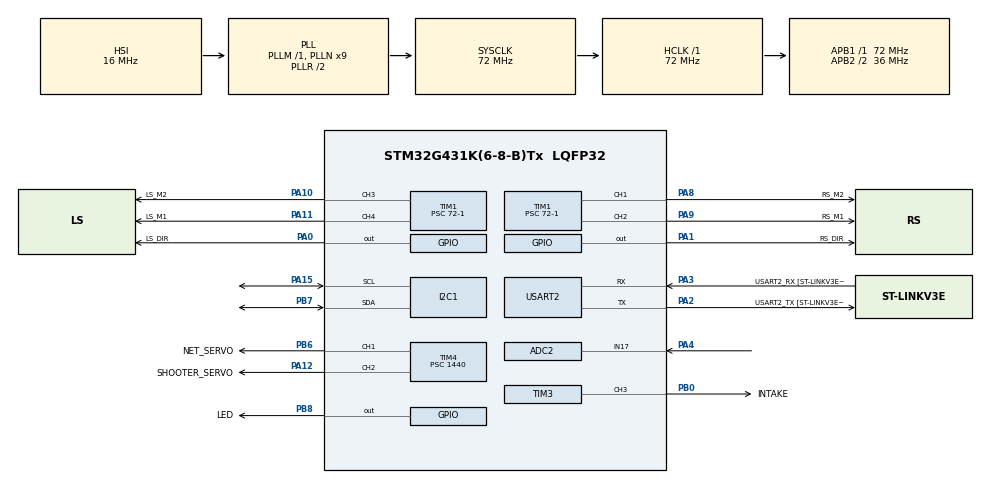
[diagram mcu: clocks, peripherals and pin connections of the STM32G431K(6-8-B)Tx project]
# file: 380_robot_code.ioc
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ADC2.Channel-0\#ChannelRegularConversion=ADC_CHANNEL_17
ADC2.NbrOfConversionFlag=1
ADC2.OffsetNumber-0\#ChannelRegularConversion=ADC_OFFSET_NONE
ADC2.Rank-0\#ChannelRegularConversion=1
ADC2.SamplingTime-0\#ChannelRegularConversion=ADC_SAMPLETIME_2CYCLES_5
I2C1.Timing=0x10808DD3
Mcu.Family=STM32G4
Mcu.Name=STM32G431K(6-8-B)Tx
Mcu.Package=LQFP32
NVIC.PriorityGroup=NVIC_PRIORITYGROUP_4
PA0.GPIO_Label=LS_DIR
PA0.Signal=GPIO_Output
PA1.GPIO_Label=RS_DIR
PA1.Signal=GPIO_Output
PA10.GPIO_Label=LS_M2
PA10.Signal=S_TIM1_CH3
PA11.GPIO_Label=LS_M1
PA11.Signal=S_TIM1_CH4
PA12.GPIO_Label=SHOOTER_SERVO
PA12.Signal=S_TIM4_CH2
PA13.GPIO_Label=T_SWDIO
PA13.Mode=Serial_Wire
PA13.Signal=SYS_JTMS-SWDIO
PA14.GPIO_Label=T_SWCLK
PA14.Mode=Serial_Wire
PA14.Signal=SYS_JTCK-SWCLK
PA15.GPIO_Pu=GPIO_PULLUP
PA15.Mode=I2C
PA15.Signal=I2C1_SCL
PA2.GPIO_Label=USART2_TX [ST-LINKV3E_VCP_RX]
PA2.Mode=Asynchronous
PA2.Signal=USART2_TX
PA3.GPIO_Label=USART2_RX [ST-LINKV3E_VCP_TX]
PA3.Mode=Asynchronous
PA3.Signal=USART2_RX
PA4.Mode=IN17-Single-Ended
PA4.Signal=ADC2_IN17
PA8.GPIO_Label=RS_M2
PA8.Signal=S_TIM1_CH1
PA9.GPIO_Label=RS_M1
PA9.Signal=S_TIM1_CH2
PB0.GPIO_Label=INTAKE
PB0.Signal=S_TIM3_CH3
PB3.GPIO_Label=T_SWO
PB3.Signal=SYS_JTDO-SWO
PB6.GPIO_Label=NET_SERVO
PB6.Signal=S_TIM4_CH1
PB7.GPIO_Pu=GPIO_PULLUP
PB7.Mode=I2C
PB7.Signal=I2C1_SDA
PB8-BOOT0.GPIO_Label=LED
PB8-BOOT0.Signal=GPIO_Output
PF0-OSC_IN.Mode=HSE-External-Oscillator
PF0-OSC_IN.Signal=RCC_OSC_IN
PF1-OSC_OUT.Mode=HSE-External-Oscillator
PF1-OSC_OUT.Signal=RCC_OSC_OUT
ProjectManager.HeapSize=0x200
ProjectManager.StackSize=0x400
ProjectManager.TargetToolchain=STM32CubeIDE
RCC.ADC12Freq_Value=72000000
RCC.AHBFreq_Value=72000000
RCC.APB1Freq_Value=72000000
RCC.APB1TimFreq_Value=72000000
RCC.APB2CLKDivider=RCC_HCLK_DIV2
RCC.APB2Freq_Value=36000000
RCC.APB2TimFreq_Value=72000000
RCC.CortexFreq_Value=72000000
RCC.EXTERNAL_CLOCK_VALUE=12288000
RCC.HCLKFreq_Value=72000000
RCC.HSE_VALUE=8000000
RCC.HSI48_VALUE=48000000
RCC.HSI_VALUE=16000000
RCC.LSE_VALUE=32768
RCC.PLLN=9
RCC.SYSCLKFreq_VALUE=72000000
RCC.SYSCLKSource=RCC_SYSCLKSOURCE_PLLCLK
RCC.USBFreq_Value=72000000
RCC.VCOOutputFreq_Value=144000000
SH.S_TIM1_CH1.0=TIM1_CH1,PWM Generation1 CH1
SH.S_TIM1_CH2.0=TIM1_CH2,PWM Generation2 CH2
SH.S_TIM1_CH3.0=TIM1_CH3,PWM Generation3 CH3
SH.S_TIM1_CH4.0=TIM1_CH4,PWM Generation4 CH4
SH.S_TIM3_CH3.0=TIM3_CH3,PWM Generation3 CH3
SH.S_TIM4_CH1.0=TIM4_CH1,PWM Generation1 CH1
SH.S_TIM4_CH2.0=TIM4_CH2,PWM Generation2 CH2
STMicroelectronics.X-CUBE-TOF1.3.4.1.BoardOoPartJjRangingJjVL53L4CX=true
TIM1.AutoReloadPreload=TIM_AUTORELOAD_PRELOAD_ENABLE
TIM1.Channel-PWM\ Generation1\ CH1=TIM_CHANNEL_1
TIM1.Channel-PWM\ Generation2\ CH2=TIM_CHANNEL_2
TIM1.Channel-PWM\ Generation3\ CH3=TIM_CHANNEL_3
TIM1.Channel-PWM\ Generation4\ CH4=TIM_CHANNEL_4
TIM1.PeriodNoDither=100-1
TIM1.Prescaler=72-1
TIM3.Channel-PWM\ Generation3\ CH3=TIM_CHANNEL_3
TIM4.Channel-PWM\ Generation1\ CH1=TIM_CHANNEL_1
TIM4.Channel-PWM\ Generation2\ CH2=TIM_CHANNEL_2
TIM4.PeriodNoDither=1000
TIM4.Prescaler=1440
USART2.VirtualMode-Asynchronous=VM_ASYNC
USART2.WordLength=WORDLENGTH_8B
VP_STMicroelectronics.X-CUBE-TOF1_VS_BoardOoPartJjRanging_2.0.5_3.4.1.Mode=BoardOoPartJjRanging
VP_SYS_VS_DBSignals.Mode=DisableDeadBatterySignals
VP_TIM1_VS_ClockSourceINT.Mode=Internal
board=NUCLEO-G431KB

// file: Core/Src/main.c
/* USER CODE BEGIN Header */
/**
  ******************************************************************************
  * @file           : main.c
  * @brief          : Main program body
  ******************************************************************************
  * @attention
  *
  * Copyright (c) 2024 STMicroelectronics.
  * All rights reserved.
  *
  * This software is licensed under terms that can be found in the LICENSE file
  * in the root directory of this software component.
  * If no LICENSE file comes with this software, it is provided AS-IS.
  *
  ******************************************************************************
  */
/* USER CODE END Header */
#include "main.h"

/* USER CODE BEGIN Includes */
#include <stdio.h>
#include "VL53Lx_api.h"
/* USER CODE END Includes */

ADC_HandleTypeDef hadc2;

I2C_HandleTypeDef hi2c1;

TIM_HandleTypeDef htim1;
TIM_HandleTypeDef htim3;
TIM_HandleTypeDef htim4;

UART_HandleTypeDef huart2;

void SystemClock_Config(void);
static void MX_GPIO_Init(void);
static void MX_USART2_UART_Init(void);
static void MX_TIM1_Init(void);
static void MX_ADC2_Init(void);
static void MX_TIM3_Init(void);
static void MX_I2C1_Init(void);
static void MX_TIM4_Init(void);
/* USER CODE BEGIN PFP */
//static void MX_I2C1_Init(void);

/* USER CODE END PFP */

/* USER CODE BEGIN 0 */
#define FWD 0
#define BWD 1

#define LEFT 0
#define RIGHT 1

#define MUX_ADDR 0x70 << 1
#define TCS_ADDR 0x29 << 1
#define ICM_ADDR 0x69 << 1
#define MAG_ADDR 0x0C << 1

#define EN_REG 0x80 | 0x00
#define INT_REG 0x80 | 0x01
#define GAIN_REG 0x80 | 0x0F

enum motors {
    LSM1,
    LSM2,
    RSM1,
    RSM2
};

enum {
	R,
	G,
	B
};

enum states {
	FOLLOW1_FAR,
	FOLLOW1_MID,
	FOLLOW1_CLOSE,
	INTERMISSION,
	FOLLOW2,
};

//const uint16_t M_PINS[4] = {LS_M1_Pin, LS_M2_Pin, RS_M1_Pin, RS_M2_Pin};
volatile const uint32_t *M_CCR[4] = {&(TIM1->CCR1), &(TIM1->CCR2), &(TIM1->CCR3), &(TIM1->CCR4)};
const uint8_t M_DIR[2] = {LS_DIR_Pin, RS_DIR_Pin};
const double M_SCALE[4] = {1,1,1,1};

const uint8_t SENSOR_REGS[3] = {0x80 | 0x16, 0x80 | 0x18, 0x80 | 0x1A};
const uint8_t SENSORS[] = {2, 3, 4, 5}; // BL, FR, FL, BR
uint8_t NUM_SENSORS = sizeof(SENSORS)/sizeof(SENSORS[0]);

uint16_t rgb[] = {0, 0, 0};

void runMotors(uint8_t side, uint8_t dir, double duty) {

    char b [100];

    if (duty < 0) {
        dir = !dir;
        duty = abs(duty*1000)/1000.0;
    }

    duty = duty*0.8;
    if (duty > 0.8) duty = 0.8;

    double duty_adj = dir == FWD ? (1-duty) : duty;

//    sprintf(b, "duty %f fwd? %d \r\n", duty_adj, dir == FWD);
//    HAL_UART_Transmit(&huart2, (uint8_t*)b, strlen(b), HAL_MAX_DELAY);

    if (side == LEFT) {
        HAL_GPIO_WritePin(GPIOA, LS_DIR_Pin, dir == FWD ? GPIO_PIN_SET : GPIO_PIN_RESET);
        TIM1->CCR1 = duty_adj*TIM1->ARR;
      //  TIM1->CCR2 = duty_adj*TIM1->ARR;
    } else {
        HAL_GPIO_WritePin(GPIOA, RS_DIR_Pin, dir == FWD ? GPIO_PIN_SET : GPIO_PIN_RESET);
       // TIM1->CCR3 = duty_adj*TIM1->ARR;
        TIM1->CCR4 = duty_adj*TIM1->ARR;
    }
}

void setBit(uint32_t bitMask, uint8_t value) {
	if (value) {
		GPIOA->ODR |= bitMask;
	} else {
		GPIOA->ODR &= ~bitMask;
	}
}

uint8_t selectMuxAddr(uint8_t sensor) {
  HAL_StatusTypeDef ret;
  char b [100];

  if (sensor > 7) {
 		sprintf(b, "sensor index %d out of bounds\r\n", sensor);
 		HAL_UART_Transmit(&huart2, (uint8_t*)b, strlen(b), HAL_MAX_DELAY);
  }

  uint8_t data[1] = {1 << sensor};

  ret = HAL_I2C_Master_Transmit(&hi2c1, MUX_ADDR, data, 1, HAL_MAX_DELAY);

  if ( ret != HAL_OK ) {
 		sprintf(b, "failed to connect to sensor %d - error code %d\r\n", sensor, ret);
 		HAL_UART_Transmit(&huart2, (uint8_t*)b, strlen(b), HAL_MAX_DELAY);
 		return 0;
 	} else {
 		sprintf(b, "connected to sensor %d\r\n", sensor);
 		HAL_UART_Transmit(&huart2, (uint8_t*)b, strlen(b), HAL_MAX_DELAY);
 		return 1;
 	}
}

uint16_t readSensor(uint8_t sensor) {
	if (!selectMuxAddr(sensor)) {
		return 0;
	}

  HAL_StatusTypeDef ret;
  uint8_t buf16[2];
  char out [100];
  uint16_t val;

	for (int i = 0; i < 3; i++) {
    ret = HAL_I2C_Mem_Read(&hi2c1, TCS_ADDR, SENSOR_REGS[i], I2C_MEMADD_SIZE_8BIT, buf16, 2, HAL_MAX_DELAY);

    if ( ret != HAL_OK ) {
   		sprintf(out, "sensor read %d failed with error code %d\r\n", sensor, ret);
   		HAL_UART_Transmit(&huart2, (uint8_t*)out, strlen(out), HAL_MAX_DELAY);
   	} else {
      val = buf16[1] << 8 | buf16[0];
//
//   		sprintf(out, "sensor %d reading %d %d %d\r\n", sensor, buf16[1], buf16[0], val);
//   		HAL_UART_Transmit(&huart2, (uint8_t*)out, strlen(out), HAL_MAX_DELAY);

   		rgb[i] = val;
   	}
	}

//		sprintf(out, "sensor %d read %d \r\n", sensor, getRGB(R));
//		HAL_UART_Transmit(&huart2, (uint8_t*)out, strlen(out), HAL_MAX_DELAY);

	return getRGB(R);

}

uint16_t getRGB(uint8_t colour) {
	uint16_t r = rgb[0];
	uint16_t g = rgb[1];
	uint16_t b = rgb[2];

	uint16_t val2 = rgb[colour]*1000 / (r + g + b) * 3;

//	sprintf(out, "sensor %d  r %d g %d b %d scaled %d\r\n", sensor, r, g, b, val2);
//	HAL_UART_Transmit(&huart2, (uint8_t*)out, strlen(out), HAL_MAX_DELAY);

	return val2;
}

void initSensors() {
  HAL_StatusTypeDef ret;
  uint8_t int_time;
  uint8_t gain;
  uint8_t enable;
  char b [100];

  int_time = 0xFF;
  gain = 0x03;
  enable = 0x01;

	sprintf(b, "yellow %d\r\n", sizeof(SENSORS)/sizeof(SENSORS[0]));
	HAL_UART_Transmit(&huart2, (uint8_t*)b, strlen(b), HAL_MAX_DELAY);

	for (int i = 0; i < sizeof(SENSORS)/sizeof(SENSORS[0]); i++) {
		sprintf(b, "BRUH %d\r\n", i);
		HAL_UART_Transmit(&huart2, (uint8_t*)b, strlen(b), HAL_MAX_DELAY);
		if (!selectMuxAddr(SENSORS[i])) {
			sprintf(b, "bad %d\r\n", ret);
			HAL_UART_Transmit(&huart2, (uint8_t*)b, strlen(b), HAL_MAX_DELAY);
				continue;
		} else {
			sprintf(b, "green %d\r\n", ret);
			HAL_UART_Transmit(&huart2, (uint8_t*)b, strlen(b), HAL_MAX_DELAY);
		}
		sprintf(b, "A %d\r\n", ret);
		HAL_UART_Transmit(&huart2, (uint8_t*)b, strlen(b), HAL_MAX_DELAY);

		// Write integration time
	  ret = HAL_I2C_Mem_Write(&hi2c1, TCS_ADDR, INT_REG, I2C_MEMADD_SIZE_8BIT, &int_time, 1, HAL_MAX_DELAY);

	  if ( ret != HAL_OK ) {
			sprintf(b, "fail 1 %d\r\n", ret);
			HAL_UART_Transmit(&huart2, (uint8_t*)b, strlen(b), HAL_MAX_DELAY);
			return;
		} else {
			sprintf(b, "b %d\r\n", ret);
			HAL_UART_Transmit(&huart2, (uint8_t*)b, strlen(b), HAL_MAX_DELAY);
		}

	  ret = HAL_I2C_Mem_Write(&hi2c1, TCS_ADDR, GAIN_REG, I2C_MEMADD_SIZE_8BIT, &gain, 1, HAL_MAX_DELAY);

	  if ( ret != HAL_OK ) {
			sprintf(b, "fail 2 %d\r\n", ret);
			HAL_UART_Transmit(&huart2, (uint8_t*)b, strlen(b), HAL_MAX_DELAY);
			return;
		} else {
			sprintf(b, "c %d\r\n", ret);
			HAL_UART_Transmit(&huart2, (uint8_t*)b, strlen(b), HAL_MAX_DELAY);
		}

	  HAL_Delay(3);

	  ret = HAL_I2C_Mem_Write(&hi2c1, TCS_ADDR, EN_REG, I2C_MEMADD_SIZE_8BIT, &enable, 1, HAL_MAX_DELAY);

	  if ( ret != HAL_OK ) {
			sprintf(b, "fail 1 %d\r\n", ret);
			HAL_UART_Transmit(&huart2, (uint8_t*)b, strlen(b), HAL_MAX_DELAY);
			return;
		} else {
			sprintf(b, "d %d\r\n", ret);
			HAL_UART_Transmit(&huart2, (uint8_t*)b, strlen(b), HAL_MAX_DELAY);
		}

	  enable |= 0x02;

	  HAL_Delay(3);

	  ret = HAL_I2C_Mem_Write(&hi2c1, TCS_ADDR, EN_REG, I2C_MEMADD_SIZE_8BIT, &enable, 1, HAL_MAX_DELAY);

	  if ( ret != HAL_OK ) {
			sprintf(b, "fail 1 %d\r\n", ret);
			HAL_UART_Transmit(&huart2, (uint8_t*)b, strlen(b), HAL_MAX_DELAY);
			return;
		} else {
			sprintf(b, "e %d\r\n", ret);
			HAL_UART_Transmit(&huart2, (uint8_t*)b, strlen(b), HAL_MAX_DELAY);
		}

	  HAL_Delay(300);

	}
}

void initIMU() {
  HAL_Delay(500);

	HAL_StatusTypeDef ret;
	uint8_t buf8;
	char out [100];

	if (!selectMuxAddr(6)) return;

	// write bypass
	buf8 = 1 << 1;
  ret = HAL_I2C_Mem_Write(&hi2c1, ICM_ADDR, 0x0F, I2C_MEMADD_SIZE_8BIT, &buf8, 1, HAL_MAX_DELAY);

  if ( ret != HAL_OK ) {
  	sprintf(out, "fail %d\r\n", ret);
  	HAL_UART_Transmit(&huart2, (uint8_t*)out, strlen(out), HAL_MAX_DELAY);
  	return;
  } else {
  	sprintf(out, "success %d\r\n", buf8);
  	HAL_UART_Transmit(&huart2, (uint8_t*)out, strlen(out), HAL_MAX_DELAY);
  }

	// write sleep
	buf8 = 0x01;
  ret = HAL_I2C_Mem_Write(&hi2c1, ICM_ADDR, 0x06, I2C_MEMADD_SIZE_8BIT, &buf8, 1, HAL_MAX_DELAY);

  if ( ret != HAL_OK ) {
  	sprintf(out, "fail %d\r\n", ret);
  	HAL_UART_Transmit(&huart2, (uint8_t*)out, strlen(out), HAL_MAX_DELAY);
  	return;
  } else {
  	sprintf(out, "success %d\r\n", buf8);
  	HAL_UART_Transmit(&huart2, (uint8_t*)out, strlen(out), HAL_MAX_DELAY);
  }

  HAL_Delay(10);

  // enable magnetometer at 100 Hz
  buf8 = 0b01000;
  ret = HAL_I2C_Mem_Write(&hi2c1, MAG_ADDR, 0x31, I2C_MEMADD_SIZE_8BIT, &buf8, 1, HAL_MAX_DELAY);

  if ( ret != HAL_OK ) {
  	sprintf(out, "fail %d\r\n", ret);
  	HAL_UART_Transmit(&huart2, (uint8_t*)out, strlen(out), HAL_MAX_DELAY);
  	return;
  } else {
  	sprintf(out, "success %d\r\n", buf8);
  	HAL_UART_Transmit(&huart2, (uint8_t*)out, strlen(out), HAL_MAX_DELAY);
  }

}

void readIMURaw(int16_t* x, int16_t* y, int16_t* z) {
	if (!selectMuxAddr(6)) return;

	HAL_StatusTypeDef ret;
	uint8_t data[6];
	char out [100];
	uint8_t buf8;

	// read magnetometer
  ret = HAL_I2C_Mem_Read(&hi2c1, MAG_ADDR, 0x11, I2C_MEMADD_SIZE_8BIT, data, 6, HAL_MAX_DELAY);

  if ( ret != HAL_OK ) {
  	sprintf(out, "IMU read failed fail %d\r\n", ret);
  	HAL_UART_Transmit(&huart2, (uint8_t*)out, strlen(out), HAL_MAX_DELAY);
  } else {
//    	sprintf(out, "x %d %d y %d %d z %d %d\r\n", data[1], data[0], data[3], data[2], data[5], data[4]);
//    	HAL_UART_Transmit(&huart2, (uint8_t*)out, strlen(out), HAL_MAX_DELAY);

  	*x = data[1] << 8 | data[0];
  	*y = data[3] << 8 | data[2];
  	*z = data[5] << 8 | data[4];

  	sprintf(out, "x %d y %d z %d \r\n", *x, *y, *z);
  	HAL_UART_Transmit(&huart2, (uint8_t*)out, strlen(out), HAL_MAX_DELAY);
  }

  // have to read this register afterwards to clear data ready bit
  ret = HAL_I2C_Mem_Read(&hi2c1, MAG_ADDR, 0x18, I2C_MEMADD_SIZE_8BIT, &buf8, 1, HAL_MAX_DELAY);
  if ( ret != HAL_OK ) {
  	sprintf(out, "IMU read clear failed %d\r\n", ret);
  	HAL_UART_Transmit(&huart2, (uint8_t*)out, strlen(out), HAL_MAX_DELAY);
  } else {
//    	sprintf(out, "success %d %d\r\n", buf16[1], buf16[0]);
//    	HAL_UART_Transmit(&huart2, (uint8_t*)out, strlen(out), HAL_MAX_DELAY);
  }
}

double getAngle(double theta0) {
	int16_t x;
	int16_t y;
	int16_t z;
	char out [100];

	readIMURaw(&x, &y, &z);

	double theta = atan2(z+295, y+33);
	theta = theta * 360 / (2 * M_PI);
	if (theta < 0) {
		theta += 360;
	}

	double output = theta - theta0;

	if (output < 0) {
		output += 360;
	}

//	sprintf(out, "angle %f\r\n", output);
//	HAL_UART_Transmit(&huart2, (uint8_t*)out, strlen(out), HAL_MAX_DELAY);

	return output;
}

void autoCalibrate(uint16_t* tape_val, uint16_t* wood_val) {
  char b [100];
	uint16_t tape = 0;
	uint16_t wood = 0;

	uint32_t wood_sum = 0;
	uint32_t tape_sum = 0;
	uint16_t avg_reading = 0;

	runMotors(LEFT, FWD, 0.4);
	runMotors(RIGHT, FWD, 0.4);

	uint16_t count = 1;
	uint16_t tape_count = 0;

	wood_sum += readSensor(SENSORS[0]);
	wood_sum += readSensor(SENSORS[3]);
	wood_sum /= 2;
	wood = wood_sum;

	sprintf(b, "wood %d\r\n", wood);
	HAL_UART_Transmit(&huart2, (uint8_t*)b, strlen(b), HAL_MAX_DELAY);

	while (1) {
		count++;
		avg_reading = 0;

		avg_reading += readSensor(SENSORS[0]);
		avg_reading += readSensor(SENSORS[3]);
		avg_reading /= 2;

		if (abs(avg_reading - wood) <= wood*0.3) {

			wood_sum += avg_reading;
			wood = wood_sum / count;

			sprintf(b, "wood %d\r\n", wood);
			HAL_UART_Transmit(&huart2, (uint8_t*)b, strlen(b), HAL_MAX_DELAY);

			if (tape_count > 0) {
				tape_count = 0;
				tape_sum = 0;
			}
		} else {
			sprintf(b, "tape? \r\n");
			HAL_UART_Transmit(&huart2, (uint8_t*)b, strlen(b), HAL_MAX_DELAY);

			tape_count++;
			if (tape_count > 10) {
				tape_sum += avg_reading;
			}
		}

		if (tape_count >= 30) {
			tape = tape_sum / (tape_count-10);

			sprintf(b, "found tape! %d\r\n", tape);
			HAL_UART_Transmit(&huart2, (uint8_t*)b, strlen(b), HAL_MAX_DELAY);
			break;
		}
	}

//	runMotors(LEFT, FWD, 0);
//	runMotors(RIGHT, FWD, 0);
}

void manCalibrate(uint16_t* tape_val, uint16_t* wood_val) {
	HAL_Delay(50);

	char b [100];

	uint16_t tape = 0;
	uint16_t wood = 0;

	uint8_t reads = 10;

	for (int i = 0; i < reads; i++) {
		tape += readSensor(SENSORS[1]);
		tape += readSensor(SENSORS[2]);
		wood += readSensor(SENSORS[0]);
		wood += readSensor(SENSORS[3]);
	}

	*tape_val = tape / (2*reads);
	*wood_val = wood / (2*reads);

	sprintf(b, "wood %d tape %d\r\n", *wood_val, *tape_val);
	HAL_UART_Transmit(&huart2, (uint8_t*)b, strlen(b), HAL_MAX_DELAY);
}

void midCalibrate(uint16_t* tape_val, uint16_t* wood_val, double* theta0) {
	HAL_Delay(50);

		char b [100];

		uint16_t tape = 0;
		uint16_t wood = (readSensor(SENSORS[0]) + readSensor(SENSORS[3]))/2;

		uint32_t wood_sum = wood;
		uint16_t avg_reading = 0;

		uint8_t reads = 10;

		uint16_t count = 1;
		uint16_t tape_count = 0;

		double theta_sum = getAngle(0);

		for (int i = 0; i < reads; i++) {
			tape += readSensor(SENSORS[1]);
			tape += readSensor(SENSORS[2]);
		}

		runMotors(LEFT, FWD, 0.4);
		runMotors(RIGHT, FWD, 0.4);

		while (1) {
				count++;
				double theta = getAngle(0);
				theta_sum += theta;
//				sprintf(b, "theta now %f   theta total %f\r\n", theta, theta_sum/count);
//				HAL_UART_Transmit(&huart2, (uint8_t*)b, strlen(b), HAL_MAX_DELAY);

				avg_reading = 0;

				avg_reading += readSensor(SENSORS[0]);
				avg_reading += readSensor(SENSORS[3]);
				avg_reading /= 2;

				if (abs(avg_reading - wood) <= wood*0.3) {

					wood_sum += avg_reading;
					wood = wood_sum / count;

//					sprintf(b, "wood %d\r\n", wood);
//					HAL_UART_Transmit(&huart2, (uint8_t*)b, strlen(b), HAL_MAX_DELAY);

					if (tape_count > 0) {
						tape_count = 0;
					}
				} else {
					sprintf(b, "tape? %d \r\n", avg_reading);
					HAL_UART_Transmit(&huart2, (uint8_t*)b, strlen(b), HAL_MAX_DELAY);

					tape_count++;
				}

				if (tape_count >= 5) {
					sprintf(b, "found tape!\r\n");
					HAL_UART_Transmit(&huart2, (uint8_t*)b, strlen(b), HAL_MAX_DELAY);
					break;
				}
			}

		*tape_val = tape / (2*reads);
		*wood_val = wood;
		*theta0 = theta_sum/count;

		sprintf(b, "wood %d tape %d\r\n", *wood_val, *tape_val);
		HAL_UART_Transmit(&huart2, (uint8_t*)b, strlen(b), HAL_MAX_DELAY);
}

void rotateToAngle(double target, double theta0, uint8_t DIR) {

//	runMotors(RIGHT, FWD, 0);
//	runMotors(LEFT, FWD, 0);
//	HAL_Delay(500);

	double angle = getAngle(theta0);
	runMotors(!DIR, FWD, 0.8);
	runMotors(DIR, BWD, 0.8);

	while (angle < (target-10) || angle > (target+10)) {
		angle = getAngle(theta0);
		//HAL_Delay(10);
	}

	runMotors(RIGHT, FWD, 0);
	runMotors(LEFT, FWD, 0);

	HAL_Delay(100);
//
//	runMotors(RIGHT, FWD, 0.5);
//	runMotors(LEFT, FWD, 0.5);

}

/* servo shit */
#define SHOOTER_HOLD 20
#define SHOOTER_RELEASE 130
#define NET_HOLD 20
#define NET_RELEASE 130
void release_shooter() {
	TIM4->CCR1 = SHOOTER_RELEASE;
}
void hold_shooter() {
	TIM4->CCR1 = SHOOTER_HOLD;
}
void release_net() {
	TIM4->CCR2 = NET_RELEASE;
}
void hold_net() {
	TIM4->CCR2 = NET_HOLD;
}

#define INTAKE_DUTY 0.65

void intakeAndStuff(double theta0) {
//	runMotors(RIGHT, FWD, 0);
//	runMotors(LEFT, FWD, 0);
//	HAL_Delay(500);

	runMotors(RIGHT, BWD, 0.5);
	runMotors(LEFT, BWD, 0.5);
	HAL_Delay(300);
	runMotors(RIGHT, FWD, 0);
	runMotors(LEFT, FWD, 0);
	HAL_Delay(200);

	// DO NOT MAKE DUTY MORE THAN 0.8
	TIM3->CCR3 = INTAKE_DUTY*TIM3->ARR;

	if(getAngle(theta0) > 270 )
			rotateToAngle(270, theta0, LEFT);
	else
			rotateToAngle(270, theta0, RIGHT);

	runMotors(RIGHT, FWD, 0.25);
	runMotors(LEFT, FWD, 0.25);

	HAL_Delay(400);

	runMotors(RIGHT, FWD, 0);
	runMotors(LEFT, FWD, 0);

	HAL_Delay(300);

	rotateToAngle(225, theta0, LEFT);

	TIM3->CCR3 = 0;

	HAL_Delay(300);

	release_shooter();

	HAL_Delay(300);

	rotateToAngle(90, theta0, LEFT);

	while(1) {}

}

const double MAX_DUTY = 0.6;
const double MIN_DUTY = 0;
const double AVG_DUTY = 0.4;
const double DUTY_RANGE = 0.4;

const double kp = 0.8;
const double kd = 1.2;

/* USER CODE END 0 */

int main(void)
{

  /* MCU Configuration--------------------------------------------------------*/

  /* Reset of all peripherals, Initializes the Flash interface and the Systick. */
  HAL_Init();

  /* Configure the system clock */
  SystemClock_Config();

  /* Initialize all configured peripherals */
  MX_GPIO_Init();
  MX_USART2_UART_Init();
  MX_TIM1_Init();
  MX_ADC2_Init();
  MX_TIM3_Init();
  MX_I2C1_Init();
  MX_TIM4_Init();
  /* USER CODE BEGIN 2 */
  //MX_I2C1_Init();
//  HAL_TIM_PWM_Start(&htim1, TIM_CHANNEL_1);
//  HAL_TIM_PWM_Start(&htim1, TIM_CHANNEL_2);
//  HAL_TIM_PWM_Start(&htim1, TIM_CHANNEL_3);

  HAL_Delay(700);

  HAL_TIM_PWM_Start(&htim1, TIM_CHANNEL_1);
  HAL_TIM_PWM_Start(&htim1, TIM_CHANNEL_2);
  HAL_TIM_PWM_Start(&htim1, TIM_CHANNEL_3);
  HAL_TIM_PWM_Start(&htim1, TIM_CHANNEL_4);
  HAL_TIM_PWM_Start(&htim3, TIM_CHANNEL_3);
  HAL_TIM_PWM_Start(&htim4, TIM_CHANNEL_1); // net release
  HAL_TIM_PWM_Start(&htim4, TIM_CHANNEL_2); //shooter release

  // Make sure all motors are stopped
  TIM1->CCR1 = 0;
  TIM1->CCR2 = 0;
  TIM1->CCR3 = 0;
  TIM1->CCR4 = 0;

  TIM3->CCR3 = 0;

  HAL_GPIO_WritePin(GPIOA, LS_DIR_Pin, GPIO_PIN_RESET);
  HAL_GPIO_WritePin(GPIOA, RS_DIR_Pin, GPIO_PIN_RESET);

  hold_shooter();
  release_net();

//  while(1) {
//  	hold_shooter();
//  	HAL_Delay(7000);
//  	release_shooter();
//  	HAL_Delay(7000);
//  }
//
//  while(1) {
//  	readSensor(SENSORS[0]);
//  	readSensor(SENSORS[1]);
//  	readSensor(SENSORS[2]);
//  	readSensor(SENSORS[3]);
//  	HAL_Delay(1000);
//  }

  HAL_Delay(300);

  char b [100];

  sprintf(b, "hello world \r\n");
  HAL_UART_Transmit(&huart2, (uint8_t*)b, strlen(b), HAL_MAX_DELAY);

  initSensors();
  initIMU();
//
//  while (1) {
//  	release_shooter();
//  	HAL_Delay(1000);
//  	hold_shooter();
//  	HAL_Delay(1000);
//  }

//
//  runMotors(LEFT, BWD, 0.6);
//  runMotors(RIGHT, FWD, 0.6);
//  while (1) {
//  	getAngle(0);
//  	HAL_Delay(10);
//  }

  uint16_t tape_val;
  uint16_t wood_val;

  HAL_Delay(100);

  double theta0 = getAngle(0);

//  while(1) {
//  	runMotors(LEFT, FWD, 0.8);
//  	runMotors(RIGHT, BWD, 0.8);
//  	HAL_Delay(5000);
//  	runMotors(LEFT, BWD, 0.8);
//  	runMotors(RIGHT, FWD, 0.8);
//  	HAL_Delay(5000);
//  }

  midCalibrate(&tape_val, &wood_val, &theta0);

  uint16_t TARGET = (tape_val+wood_val)/2;
  uint16_t READING_RANGE = TARGET - wood_val;

//  runMotors(LEFT, FWD, 0.5);
//  runMotors(RIGHT, FWD, 0.5);

//  HAL_Delay(300);

  uint16_t turn_count_l = 0;
  uint16_t turn_count_r = 0;

  int16_t prev_r = TARGET;
  int16_t prev_l = TARGET;

  uint16_t state = FOLLOW1_FAR;

  uint16_t angle_count = 0;

  /* USER CODE END 2 */

  /* Infinite loop */
  /* USER CODE BEGIN WHILE */
  while (1)
  {

  	uint16_t right = readSensor(SENSORS[1]);
  	uint16_t blue_r = getRGB(B);

  	uint16_t left = readSensor(SENSORS[2]);
  	uint16_t blue_l = getRGB(B);

  	if (state < INTERMISSION && (blue_r > 1000 || blue_l > 1000)) {
  		state = INTERMISSION;
  		intakeAndStuff(theta0);
  		state = FOLLOW2;
  		continue;
  	}

//  	double angle = getAngle(theta0);
//  	if (state == FOLLOW1_FAR) {
//			if (angle > 70 && angle < 110) {
//				angle_count++;
//			} else {
//				angle_count = 0;
//			}
//
//			if (angle_count >= 15) {
//				state = FOLLOW1_MID;
//				angle_count = 0;
//			}
//  	} else if (state == FOLLOW1_MID) {
//			if (angle > 340 || angle < 20) {
//				angle_count++;
//			} else {
//				angle_count = 0;
//			}
//
//			if (angle_count >= 15) {
//				state = FOLLOW1_FAR;
//				angle_count = 0;
//				// DO NOT MAKE DUTY MORE THAN 0.8
//				TIM3->CCR3 = INTAKE_DUTY*TIM3->ARR;
//			}
//  	}

//  	sprintf(b, "left sensor %d right sensor %d\r\n", right, left);
//  	HAL_UART_Transmit(&huart2, (uint8_t*)b, strlen(b), HAL_MAX_DELAY);

  	int16_t error_r = right - TARGET;
  	int16_t error_l = left - TARGET;

//  	sprintf(b, "left %d right %d ", error_l, error_r);
//  	HAL_UART_Transmit(&huart2, (uint8_t*)b, strlen(b), HAL_MAX_DELAY);

  	double duty_r;//MIN_DUTY + ratio/(tape/wood)*(MAX_DUTY-MIN_DUTY);//
  	double duty_l;//MIN_DUTY + (1/ratio)/(tape/wood)*(MAX_DUTY-MIN_DUTY); //

  	if (left < wood_val*1.1 && right < wood_val*1.1) {
    	prev_r = error_r;
    	prev_l = error_l;
  		continue;
  	}

  	if (left < wood_val*1.01 && right < 0.99*(tape_val-wood_val) + wood_val) {
  		turn_count_r ++;
  		turn_count_l = 0;
  	} else if (right < wood_val*1.01 && left < 0.99*(tape_val-wood_val) + wood_val) {
  		turn_count_r = 0;
  		turn_count_l ++;
  	} else {
  		turn_count_l = 0;
  		turn_count_r = 0;
  	}

  	if (turn_count_r > 3) {
  		duty_r = -0.6;
  		duty_l = 0.6;
  	} else if (turn_count_l > 3) {
  		duty_l = -0.6;
  		duty_r = 0.6;
  	} else {

  	  	double delta_r = (kp * error_r - kd * (error_r - prev_r)) / READING_RANGE * DUTY_RANGE;
  	  	double delta_l = (kp * error_l - kd * (error_l - prev_l)) / READING_RANGE * DUTY_RANGE;

  	  	duty_r = AVG_DUTY - delta_r;
  	  	duty_l = AVG_DUTY - delta_l;

  	    if (duty_l < MIN_DUTY) duty_l = MIN_DUTY;
  	    if (duty_l > MAX_DUTY) duty_l = MAX_DUTY;
  	    if (duty_r < MIN_DUTY) duty_r = MIN_DUTY;
  	    if (duty_r > MAX_DUTY) duty_r = MAX_DUTY;
  	}

  //	sprintf(b, "delta_r %f duty_r %f\r\n", delta_r, duty_r);
  //	HAL_UART_Transmit(&huart2, (uint8_t*)b, strlen(b), HAL_MAX_DELAY);

  	prev_r = error_r;
  	prev_l = error_l;

  	if (state == FOLLOW1_FAR) {
  		duty_r = duty_r*0.75;
  		duty_l = duty_l*0.75;
  	}

//  	sprintf(b, "left duty %f right duty %f\r\n", duty_l*100, duty_r*100);
//  	HAL_UART_Transmit(&huart2, (uint8_t*)b, strlen(b), HAL_MAX_DELAY);

  	runMotors(RIGHT, FWD, duty_r);
  	runMotors(LEFT, FWD, duty_l);

  //	HAL_Delay(1000);

    /* USER CODE END WHILE */

  }
}

void SystemClock_Config(void)
{
  RCC_OscInitTypeDef RCC_OscInitStruct = {0};
  RCC_ClkInitTypeDef RCC_ClkInitStruct = {0};

  /** Configure the main internal regulator output voltage
  */
  HAL_PWREx_ControlVoltageScaling(PWR_REGULATOR_VOLTAGE_SCALE1);

  /** Initializes the RCC Oscillators according to the specified parameters
  * in the RCC_OscInitTypeDef structure.
  */
  RCC_OscInitStruct.OscillatorType = RCC_OSCILLATORTYPE_HSI;
  RCC_OscInitStruct.HSIState = RCC_HSI_ON;
  RCC_OscInitStruct.HSICalibrationValue = RCC_HSICALIBRATION_DEFAULT;
  RCC_OscInitStruct.PLL.PLLState = RCC_PLL_ON;
  RCC_OscInitStruct.PLL.PLLSource = RCC_PLLSOURCE_HSI;
  RCC_OscInitStruct.PLL.PLLM = RCC_PLLM_DIV1;
  RCC_OscInitStruct.PLL.PLLN = 9;
  RCC_OscInitStruct.PLL.PLLP = RCC_PLLP_DIV2;
  RCC_OscInitStruct.PLL.PLLQ = RCC_PLLQ_DIV2;
  RCC_OscInitStruct.PLL.PLLR = RCC_PLLR_DIV2;
  if (HAL_RCC_OscConfig(&RCC_OscInitStruct) != HAL_OK)
  {
    Error_Handler();
  }

  /** Initializes the CPU, AHB and APB buses clocks
  */
  RCC_ClkInitStruct.ClockType = RCC_CLOCKTYPE_HCLK|RCC_CLOCKTYPE_SYSCLK
                              |RCC_CLOCKTYPE_PCLK1|RCC_CLOCKTYPE_PCLK2;
  RCC_ClkInitStruct.SYSCLKSource = RCC_SYSCLKSOURCE_PLLCLK;
  RCC_ClkInitStruct.AHBCLKDivider = RCC_SYSCLK_DIV1;
  RCC_ClkInitStruct.APB1CLKDivider = RCC_HCLK_DIV1;
  RCC_ClkInitStruct.APB2CLKDivider = RCC_HCLK_DIV2;

  if (HAL_RCC_ClockConfig(&RCC_ClkInitStruct, FLASH_LATENCY_2) != HAL_OK)
  {
    Error_Handler();
  }
}

static void MX_ADC2_Init(void)
{

  ADC_ChannelConfTypeDef sConfig = {0};

  /** Common config
  */
  hadc2.Instance = ADC2;
  hadc2.Init.ClockPrescaler = ADC_CLOCK_SYNC_PCLK_DIV2;
  hadc2.Init.Resolution = ADC_RESOLUTION_12B;
  hadc2.Init.DataAlign = ADC_DATAALIGN_RIGHT;
  hadc2.Init.GainCompensation = 0;
  hadc2.Init.ScanConvMode = ADC_SCAN_DISABLE;
  hadc2.Init.EOCSelection = ADC_EOC_SINGLE_CONV;
  hadc2.Init.LowPowerAutoWait = DISABLE;
  hadc2.Init.ContinuousConvMode = DISABLE;
  hadc2.Init.NbrOfConversion = 1;
  hadc2.Init.DiscontinuousConvMode = DISABLE;
  hadc2.Init.ExternalTrigConv = ADC_SOFTWARE_START;
  hadc2.Init.ExternalTrigConvEdge = ADC_EXTERNALTRIGCONVEDGE_NONE;
  hadc2.Init.DMAContinuousRequests = DISABLE;
  hadc2.Init.Overrun = ADC_OVR_DATA_PRESERVED;
  hadc2.Init.OversamplingMode = DISABLE;
  if (HAL_ADC_Init(&hadc2) != HAL_OK)
  {
    Error_Handler();
  }

  /** Configure Regular Channel
  */
  sConfig.Channel = ADC_CHANNEL_17;
  sConfig.Rank = ADC_REGULAR_RANK_1;
  sConfig.SamplingTime = ADC_SAMPLETIME_2CYCLES_5;
  sConfig.SingleDiff = ADC_SINGLE_ENDED;
  sConfig.OffsetNumber = ADC_OFFSET_NONE;
  sConfig.Offset = 0;
  if (HAL_ADC_ConfigChannel(&hadc2, &sConfig) != HAL_OK)
  {
    Error_Handler();
  }

}

static void MX_I2C1_Init(void)
{

  hi2c1.Instance = I2C1;
  hi2c1.Init.Timing = 0x10808DD3;
  hi2c1.Init.OwnAddress1 = 0;
  hi2c1.Init.AddressingMode = I2C_ADDRESSINGMODE_7BIT;
  hi2c1.Init.DualAddressMode = I2C_DUALADDRESS_DISABLE;
  hi2c1.Init.OwnAddress2 = 0;
  hi2c1.Init.OwnAddress2Masks = I2C_OA2_NOMASK;
  hi2c1.Init.GeneralCallMode = I2C_GENERALCALL_DISABLE;
  hi2c1.Init.NoStretchMode = I2C_NOSTRETCH_DISABLE;
  if (HAL_I2C_Init(&hi2c1) != HAL_OK)
  {
    Error_Handler();
  }

  /** Configure Analogue filter
  */
  if (HAL_I2CEx_ConfigAnalogFilter(&hi2c1, I2C_ANALOGFILTER_ENABLE) != HAL_OK)
  {
    Error_Handler();
  }

  /** Configure Digital filter
  */
  if (HAL_I2CEx_ConfigDigitalFilter(&hi2c1, 0) != HAL_OK)
  {
    Error_Handler();
  }

}

static void MX_TIM1_Init(void)
{

  TIM_ClockConfigTypeDef sClockSourceConfig = {0};
  TIM_MasterConfigTypeDef sMasterConfig = {0};
  TIM_OC_InitTypeDef sConfigOC = {0};
  TIM_BreakDeadTimeConfigTypeDef sBreakDeadTimeConfig = {0};

  htim1.Instance = TIM1;
  htim1.Init.Prescaler = 72-1;
  htim1.Init.CounterMode = TIM_COUNTERMODE_UP;
  htim1.Init.Period = 99;
  htim1.Init.ClockDivision = TIM_CLOCKDIVISION_DIV1;
  htim1.Init.RepetitionCounter = 0;
  htim1.Init.AutoReloadPreload = TIM_AUTORELOAD_PRELOAD_ENABLE;
  if (HAL_TIM_Base_Init(&htim1) != HAL_OK)
  {
    Error_Handler();
  }
  sClockSourceConfig.ClockSource = TIM_CLOCKSOURCE_INTERNAL;
  if (HAL_TIM_ConfigClockSource(&htim1, &sClockSourceConfig) != HAL_OK)
  {
    Error_Handler();
  }
  if (HAL_TIM_PWM_Init(&htim1) != HAL_OK)
  {
    Error_Handler();
  }
  sMasterConfig.MasterOutputTrigger = TIM_TRGO_RESET;
  sMasterConfig.MasterOutputTrigger2 = TIM_TRGO2_RESET;
  sMasterConfig.MasterSlaveMode = TIM_MASTERSLAVEMODE_DISABLE;
  if (HAL_TIMEx_MasterConfigSynchronization(&htim1, &sMasterConfig) != HAL_OK)
  {
    Error_Handler();
  }
  sConfigOC.OCMode = TIM_OCMODE_PWM1;
  sConfigOC.Pulse = 0;
  sConfigOC.OCPolarity = TIM_OCPOLARITY_HIGH;
  sConfigOC.OCNPolarity = TIM_OCNPOLARITY_HIGH;
  sConfigOC.OCFastMode = TIM_OCFAST_DISABLE;
  sConfigOC.OCIdleState = TIM_OCIDLESTATE_RESET;
  sConfigOC.OCNIdleState = TIM_OCNIDLESTATE_RESET;
  if (HAL_TIM_PWM_ConfigChannel(&htim1, &sConfigOC, TIM_CHANNEL_1) != HAL_OK)
  {
    Error_Handler();
  }
  if (HAL_TIM_PWM_ConfigChannel(&htim1, &sConfigOC, TIM_CHANNEL_2) != HAL_OK)
  {
    Error_Handler();
  }
  if (HAL_TIM_PWM_ConfigChannel(&htim1, &sConfigOC, TIM_CHANNEL_3) != HAL_OK)
  {
    Error_Handler();
  }
  if (HAL_TIM_PWM_ConfigChannel(&htim1, &sConfigOC, TIM_CHANNEL_4) != HAL_OK)
  {
    Error_Handler();
  }
  sBreakDeadTimeConfig.OffStateRunMode = TIM_OSSR_DISABLE;
  sBreakDeadTimeConfig.OffStateIDLEMode = TIM_OSSI_DISABLE;
  sBreakDeadTimeConfig.LockLevel = TIM_LOCKLEVEL_OFF;
  sBreakDeadTimeConfig.DeadTime = 0;
  sBreakDeadTimeConfig.BreakState = TIM_BREAK_DISABLE;
  sBreakDeadTimeConfig.BreakPolarity = TIM_BREAKPOLARITY_HIGH;
  sBreakDeadTimeConfig.BreakFilter = 0;
  sBreakDeadTimeConfig.BreakAFMode = TIM_BREAK_AFMODE_INPUT;
  sBreakDeadTimeConfig.Break2State = TIM_BREAK2_DISABLE;
  sBreakDeadTimeConfig.Break2Polarity = TIM_BREAK2POLARITY_HIGH;
  sBreakDeadTimeConfig.Break2Filter = 0;
  sBreakDeadTimeConfig.Break2AFMode = TIM_BREAK_AFMODE_INPUT;
  sBreakDeadTimeConfig.AutomaticOutput = TIM_AUTOMATICOUTPUT_DISABLE;
  if (HAL_TIMEx_ConfigBreakDeadTime(&htim1, &sBreakDeadTimeConfig) != HAL_OK)
  {
    Error_Handler();
  }
  HAL_TIM_MspPostInit(&htim1);

}

static void MX_TIM3_Init(void)
{

  TIM_MasterConfigTypeDef sMasterConfig = {0};
  TIM_OC_InitTypeDef sConfigOC = {0};

  htim3.Instance = TIM3;
  htim3.Init.Prescaler = 0;
  htim3.Init.CounterMode = TIM_COUNTERMODE_UP;
  htim3.Init.Period = 65535;
  htim3.Init.ClockDivision = TIM_CLOCKDIVISION_DIV1;
  htim3.Init.AutoReloadPreload = TIM_AUTORELOAD_PRELOAD_DISABLE;
  if (HAL_TIM_PWM_Init(&htim3) != HAL_OK)
  {
    Error_Handler();
  }
  sMasterConfig.MasterOutputTrigger = TIM_TRGO_RESET;
  sMasterConfig.MasterSlaveMode = TIM_MASTERSLAVEMODE_DISABLE;
  if (HAL_TIMEx_MasterConfigSynchronization(&htim3, &sMasterConfig) != HAL_OK)
  {
    Error_Handler();
  }
  sConfigOC.OCMode = TIM_OCMODE_PWM1;
  sConfigOC.Pulse = 0;
  sConfigOC.OCPolarity = TIM_OCPOLARITY_HIGH;
  sConfigOC.OCFastMode = TIM_OCFAST_DISABLE;
  if (HAL_TIM_PWM_ConfigChannel(&htim3, &sConfigOC, TIM_CHANNEL_3) != HAL_OK)
  {
    Error_Handler();
  }
  HAL_TIM_MspPostInit(&htim3);

}

static void MX_TIM4_Init(void)
{

  TIM_MasterConfigTypeDef sMasterConfig = {0};
  TIM_OC_InitTypeDef sConfigOC = {0};

  htim4.Instance = TIM4;
  htim4.Init.Prescaler = 1440;
  htim4.Init.CounterMode = TIM_COUNTERMODE_UP;
  htim4.Init.Period = 1000;
  htim4.Init.ClockDivision = TIM_CLOCKDIVISION_DIV1;
  htim4.Init.AutoReloadPreload = TIM_AUTORELOAD_PRELOAD_DISABLE;
  if (HAL_TIM_PWM_Init(&htim4) != HAL_OK)
  {
    Error_Handler();
  }
  sMasterConfig.MasterOutputTrigger = TIM_TRGO_RESET;
  sMasterConfig.MasterSlaveMode = TIM_MASTERSLAVEMODE_DISABLE;
  if (HAL_TIMEx_MasterConfigSynchronization(&htim4, &sMasterConfig) != HAL_OK)
  {
    Error_Handler();
  }
  sConfigOC.OCMode = TIM_OCMODE_PWM1;
  sConfigOC.Pulse = 0;
  sConfigOC.OCPolarity = TIM_OCPOLARITY_HIGH;
  sConfigOC.OCFastMode = TIM_OCFAST_DISABLE;
  if (HAL_TIM_PWM_ConfigChannel(&htim4, &sConfigOC, TIM_CHANNEL_1) != HAL_OK)
  {
    Error_Handler();
  }
  if (HAL_TIM_PWM_ConfigChannel(&htim4, &sConfigOC, TIM_CHANNEL_2) != HAL_OK)
  {
    Error_Handler();
  }
  HAL_TIM_MspPostInit(&htim4);

}

static void MX_USART2_UART_Init(void)
{

  huart2.Instance = USART2;
  huart2.Init.BaudRate = 115200;
  huart2.Init.WordLength = UART_WORDLENGTH_8B;
  huart2.Init.StopBits = UART_STOPBITS_1;
  huart2.Init.Parity = UART_PARITY_NONE;
  huart2.Init.Mode = UART_MODE_TX_RX;
  huart2.Init.HwFlowCtl = UART_HWCONTROL_NONE;
  huart2.Init.OverSampling = UART_OVERSAMPLING_16;
  huart2.Init.OneBitSampling = UART_ONE_BIT_SAMPLE_DISABLE;
  huart2.Init.ClockPrescaler = UART_PRESCALER_DIV1;
  huart2.AdvancedInit.AdvFeatureInit = UART_ADVFEATURE_NO_INIT;
  if (HAL_UART_Init(&huart2) != HAL_OK)
  {
    Error_Handler();
  }
  if (HAL_UARTEx_SetTxFifoThreshold(&huart2, UART_TXFIFO_THRESHOLD_1_8) != HAL_OK)
  {
    Error_Handler();
  }
  if (HAL_UARTEx_SetRxFifoThreshold(&huart2, UART_RXFIFO_THRESHOLD_1_8) != HAL_OK)
  {
    Error_Handler();
  }
  if (HAL_UARTEx_DisableFifoMode(&huart2) != HAL_OK)
  {
    Error_Handler();
  }

}

static void MX_GPIO_Init(void)
{
  GPIO_InitTypeDef GPIO_InitStruct = {0};

  /* GPIO Ports Clock Enable */
  __HAL_RCC_GPIOF_CLK_ENABLE();
  __HAL_RCC_GPIOA_CLK_ENABLE();
  __HAL_RCC_GPIOB_CLK_ENABLE();

  /*Configure GPIO pin Output Level */
  HAL_GPIO_WritePin(GPIOA, LS_DIR_Pin|RS_DIR_Pin, GPIO_PIN_RESET);

  /*Configure GPIO pin Output Level */
  HAL_GPIO_WritePin(LED_GPIO_Port, LED_Pin, GPIO_PIN_RESET);

  /*Configure GPIO pins : LS_DIR_Pin RS_DIR_Pin */
  GPIO_InitStruct.Pin = LS_DIR_Pin|RS_DIR_Pin;
  GPIO_InitStruct.Mode = GPIO_MODE_OUTPUT_PP;
  GPIO_InitStruct.Pull = GPIO_NOPULL;
  GPIO_InitStruct.Speed = GPIO_SPEED_FREQ_LOW;
  HAL_GPIO_Init(GPIOA, &GPIO_InitStruct);

  /*Configure GPIO pin : LED_Pin */
  GPIO_InitStruct.Pin = LED_Pin;
  GPIO_InitStruct.Mode = GPIO_MODE_OUTPUT_PP;
  GPIO_InitStruct.Pull = GPIO_NOPULL;
  GPIO_InitStruct.Speed = GPIO_SPEED_FREQ_LOW;
  HAL_GPIO_Init(LED_GPIO_Port, &GPIO_InitStruct);

}

/* USER CODE BEGIN 4 */
//static void MX_I2C1_Init(void)
//{
//
//	hi2c1.Instance = I2C1;
//	hi2c1.Init.ClockSpeed = 100000;
//	hi2c1.Init.DutyCycle = I2C_DUTYCYCLE_2;
//	hi2c1.Init.OwnAddress1 = 0;
//	hi2c1.Init.AddressingMode = I2C_ADDRESSINGMODE_7BIT;
//	hi2c1.Init.DualAddressMode = I2C_DUALADDRESS_DISABLE;
//	hi2c1.Init.OwnAddress2 = 0;
//	hi2c1.Init.GeneralCallMode = I2C_GENERALCALL_DISABLE;
//	hi2c1.Init.NoStretchMode = I2C_NOSTRETCH_DISABLE;
//	if (HAL_I2C_Init(&hi2c1) != HAL_OK)
//	{
//		Error_Handler();
//	}
//
//}

/* USER CODE END 4 */

void Error_Handler(void)
{
  __disable_irq();
  while (1)
  {
  }
}
